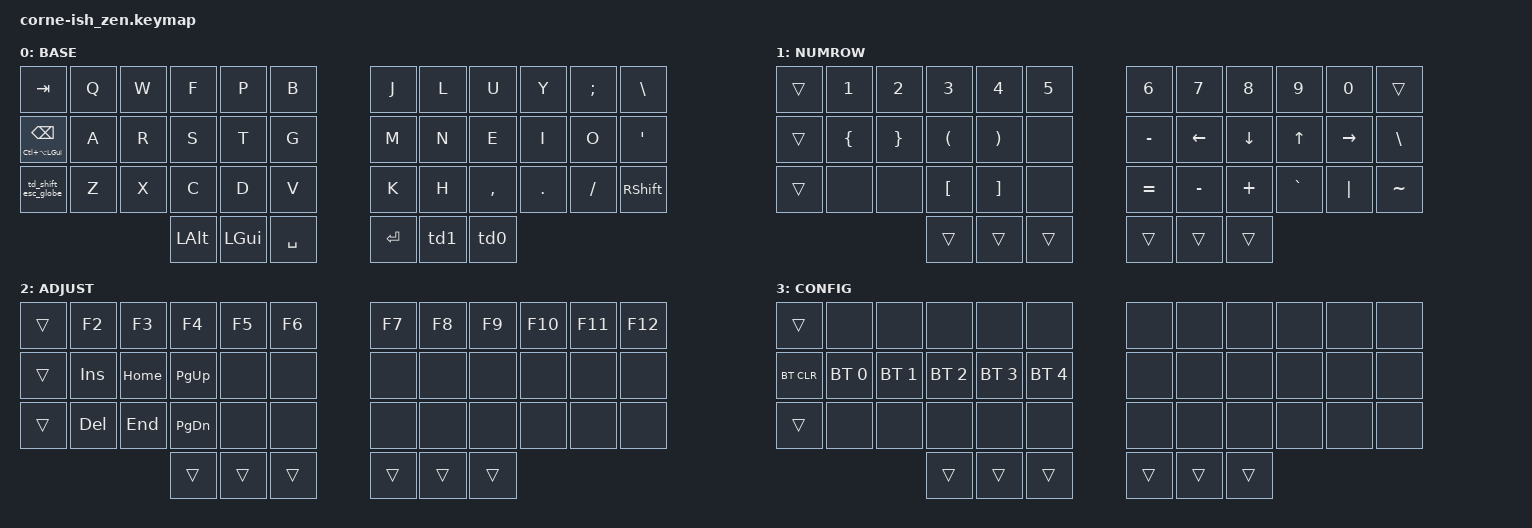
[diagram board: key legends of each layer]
/*
*
* Copyright (c) 2021 lowprokb.ca
* SPDX-License-Identifier: MIT
*
*/

#include <behaviors.dtsi>
#include <dt-bindings/zmk/keys.h>
#include <dt-bindings/zmk/bt.h>

#define BASE 0
#define NUMROW 1
#define ADJUST 2
#define CONFIG 3

#define NS_HYPER LC(LA(LGUI))
#define GLOBE C_AC_NEXT_KEYBOARD_LAYOUT_SELECT

/ {
        behaviors {
                hm: homerow_mods {
                compatible = "zmk,behavior-hold-tap";
                label = "HOMEROW_MODS";
                #binding-cells = <2>;
                tapping-term-ms = <250>;
                quick_tap_ms = <0>;
                flavor = "tap-preferred";
                bindings = <&kp>, <&kp>;
                };
                sm: space_mod {
                compatible = "zmk,behavior-hold-tap";
                label = "SPACE_MOD";
                #binding-cells = <2>;
                tapping-term-ms = <150>;
                quick_tap_ms = <0>;
                flavor = "tap-unless-interrupted";
                bindings = <&kp>, <&kp>;
                };
                td0: tap_dance_0 {
                compatible = "zmk,behavior-tap-dance";
                label = "TAP_DANCE_0";
                #binding-cells = <0>;
                tapping-term-ms = <200>;
                bindings = <&kp RCTRL>, <&to 0>;
                };
                td1: tap_dance_1 {
                compatible = "zmk,behavior-tap-dance";
                label = "TAP_DANCE_1";
                #binding-cells = <0>;
                tapping-term-ms = <200>;
                bindings = <&mo 1>, <&to 2>, <&to 3>;
                };
                shift_esc: shift_esc {
                compatible = "zmk,behavior-hold-tap";
                label = "SHIFT_ESC";
                #binding-cells = <2>;
                tapping-term-ms = <200>;
                flavor = "tap-preferred";
                bindings = <&kp>, <&kp>;
                };
                td_shift_esc_globe: tap_dance_shift_esc_globe {
                compatible = "zmk,behavior-tap-dance";
                label = "TAP_DANCE_SHIFT_ESC_GLOBE";
                #binding-cells = <0>;
                tapping-term-ms = <200>;
                bindings = <&shift_esc LSHFT ESC>, <&kp GLOBE>;
                };
        };

        keymap {
                compatible = "zmk,keymap";

                default_layer {
                        label = "BASE";
                        bindings = <
   &kp TAB        &kp Q       &kp W       &kp F        &kp P         &kp B              &kp J &kp L        &kp U       &kp Y      &kp SEMI   &kp BSLH
   &mt NS_HYPER BKSP &kp A       &kp R       &kp S        &kp T         &kp G              &kp M &kp N        &kp E       &kp I      &kp O      &kp QUOT
   &td_shift_esc_globe  &kp Z       &kp X       &kp C        &kp D         &kp V              &kp K &kp H        &kp CMMA    &kp DOT    &kp FSLH   &kp RSHFT
                                          &kp LALT &kp LGUI &kp SPACE             &kp ENTER &td1 &td0
                        >;
                };

                numrow_layer {
                        label = "NUMROW";
                        bindings = <
   &trans  &kp N1   &kp N2    &kp N3   &kp N4   &kp N5     &kp N6    &kp N7    &kp N8   &kp N9   &kp N0   &trans
   &trans  &kp LBRC &kp RBRC  &kp LPAR &kp RPAR &none      &kp MINUS &kp LEFT &kp DOWN &kp UP &kp RIGHT &kp BSLH
   &trans  &none    &none     &kp LBKT &kp RBKT &none      &kp EQUAL &kp MINUS  &kp PLUS &kp GRAVE &kp PIPE &kp TILDE
                                    &trans &trans &trans      &trans &trans &trans
                        >;
                };

                adjust_layer {
                        label = "ADJUST";
                        bindings = <
   &trans  &kp F2  &kp F3   &kp F4    &kp F5 &kp F6    &kp F7   &kp F8   &kp F9 &kp F10   &kp F11 &kp F12
   &trans  &kp INS &kp HOME &kp PG_UP &none  &none     &none    &none    &none  &none     &none   &none
   &trans  &kp DEL &kp END  &kp PG_DN &none  &none     &none    &none    &none  &none     &none   &none
                                  &trans &trans &trans     &trans &trans &trans
                        >;
                };

                config_layer {
                        label = "CONFIG";
                        bindings = <
   &trans     &none        &none        &none        &none        &none           &none &none &none &none &none &none
   &bt BT_CLR &bt BT_SEL 0 &bt BT_SEL 1 &bt BT_SEL 2 &bt BT_SEL 3 &bt BT_SEL 4    &none &none &none &none &none &none
   &trans      &none        &none        &none        &none        &none           &none &none &none &none &none &none
                                                          &trans &trans &trans    &trans &trans &trans
                        >;
                };
        };
};
